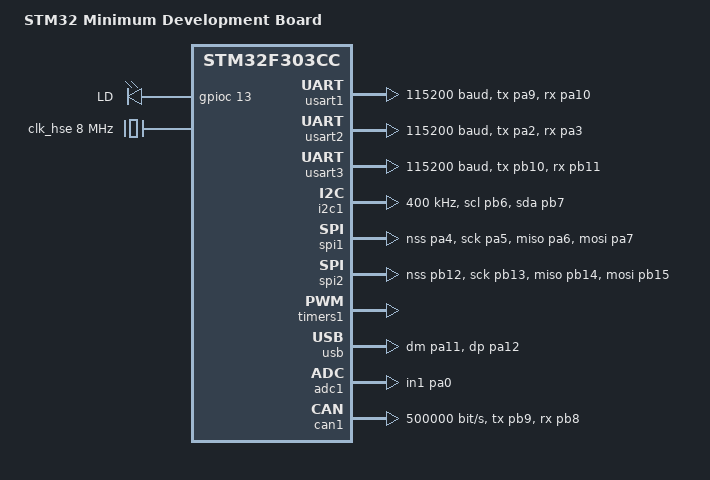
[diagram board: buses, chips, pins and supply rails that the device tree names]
/*
 * Copyright (c) 2019, embedjournal.com
 *
 * SPDX-License-Identifier: Apache-2.0
 */

/dts-v1/;
#include <st/f3/stm32f303Xc.dtsi>
#include <st/f3/stm32f303c(b-c)tx-pinctrl.dtsi>

/ {
	model = "STM32 Minimum Development Board";
	compatible = "st,stm32f303cc";

	chosen {
		zephyr,console = &usart1;
		zephyr,shell-uart = &usart1;
		zephyr,osdp-uart = &usart2;
		zephyr,sram = &sram0;
		zephyr,flash = &flash0;
		zephyr,canbus = &can1;
	};

	leds {
		compatible = "gpio-leds";
		led: led {
			gpios = <&gpioc 13 GPIO_ACTIVE_HIGH>;
			label = "LD";
		};
	};

	aliases {
		led0 = &led;
	};
};

&clk_lsi {
	status = "okay";
};

&clk_hse {
	clock-frequency = <DT_FREQ_M(8)>; /* STLink 8MHz clock */
	status = "okay";
};

&pll {
	prediv = <1>;
	mul = <9>;
	clocks = <&clk_hse>;
	status = "okay";
};


&rcc {
	clocks = <&pll>;
	clock-frequency = <DT_FREQ_M(72)>;
	ahb-prescaler = <1>;
	apb1-prescaler = <2>;
	apb2-prescaler = <1>;
};


&usart1 {
	pinctrl-0 = <&usart1_tx_pa9 &usart1_rx_pa10>;
	current-speed = <115200>;
	pinctrl-names = "default";
	status = "okay";
};

&usart2 {
	pinctrl-0 = <&usart2_tx_pa2 &usart2_rx_pa3>;
	current-speed = <115200>;
	pinctrl-names = "default";
	status = "okay";
};

&usart3 {
	pinctrl-0 = <&usart3_tx_pb10 &usart3_rx_pb11>;
	current-speed = <115200>;
	pinctrl-names = "default";
	status = "okay";
};

&i2c1 {
	pinctrl-0 = < &i2c1_scl_pb6 &i2c1_sda_pb7 >;
	status = "okay";
	pinctrl-names = "default";
	clock-frequency = <I2C_BITRATE_FAST>;
};

&spi1 {
	pinctrl-0 = <&spi1_nss_pa4 &spi1_sck_pa5
		     &spi1_miso_pa6 &spi1_mosi_pa7>;
	pinctrl-names = "default";
	status = "okay";
};

&spi2 {
	pinctrl-0 = <&spi2_nss_pb12 &spi2_sck_pb13
		     &spi2_miso_pb14 &spi2_mosi_pb15>;
	pinctrl-names = "default";
	status = "okay";
};

&timers1 {
	status = "okay";

	pwm1: pwm {
		status = "okay";
		pinctrl-0 = <&tim1_ch1_pa8>;
		pinctrl-names = "default";
	};
};

zephyr_udc0: &usb {
	pinctrl-0 = <&usb_dm_pa11 &usb_dp_pa12>;
	pinctrl-names = "default";
	status = "okay";
};

&adc1 {
	pinctrl-0 = <&adc1_in1_pa0>;
	pinctrl-names = "default";
	st,adc-clock-source = <SYNC>;
	st,adc-prescaler = <2>;
	status = "okay";
};

&can1 {
	pinctrl-0 = <&can_tx_pb9 &can_rx_pb8>;
	pinctrl-names = "default";
	bus-speed = <500000>;
	status = "okay";
};
